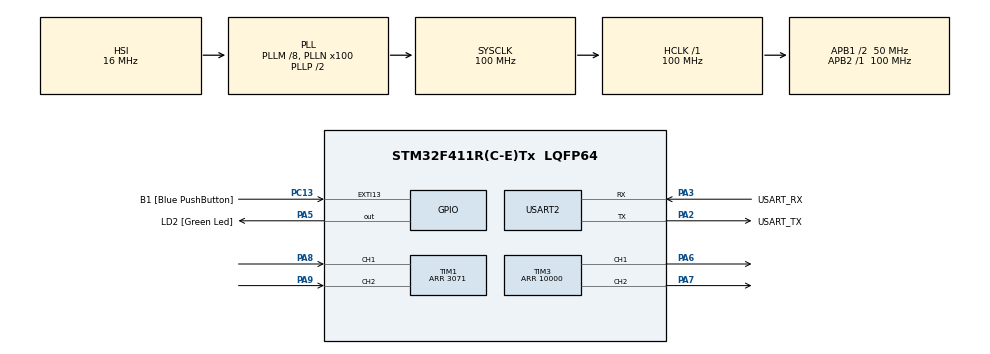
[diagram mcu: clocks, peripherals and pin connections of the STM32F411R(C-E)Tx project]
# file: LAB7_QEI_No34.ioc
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Mcu.Family=STM32F4
PC15-OSC32_OUT.Mode=LSE-External-Oscillator
RCC.CortexFreq_Value=100000000
PC13-ANTI_TAMP.GPIO_Label=B1 [Blue PushButton]
PA14.GPIO_Label=TCK
PH1\ -\ OSC_OUT.Mode=HSE-External-Clock-Source
TIM1.EncoderMode=TIM_ENCODERMODE_TI12
RCC.APB1CLKDivider=RCC_HCLK_DIV2
PC14-OSC32_IN.Signal=RCC_OSC32_IN
RCC.SYSCLKSource=RCC_SYSCLKSOURCE_PLLCLK
ProjectManager.StackSize=0x400
PA3.Mode=Asynchronous
PA13.Signal=SYS_JTMS-SWDIO
PH0\ -\ OSC_IN.Mode=HSE-External-Clock-Source
SH.S_TIM1_CH1.0=TIM1_CH1,Encoder_Interface
PH0\ -\ OSC_IN.Signal=RCC_OSC_IN
ProjectManager.TargetToolchain=STM32CubeIDE
RCC.HCLKFreq_Value=100000000
RCC.APB2TimFreq_Value=100000000
TIM3.Period=10000
PA9.Signal=S_TIM1_CH2
PC15-OSC32_OUT.Signal=RCC_OSC32_OUT
RCC.AHBFreq_Value=100000000
TIM3.Channel-PWM\ Generation1\ CH1=TIM_CHANNEL_1
PA5.Signal=GPIO_Output
SH.S_TIM3_CH2.0=TIM3_CH2,PWM Generation2 CH2
RCC.HSE_VALUE=8000000
PH1\ -\ OSC_OUT.Signal=RCC_OSC_OUT
board=NUCLEO-F411RE
PC13-ANTI_TAMP.Signal=GPXTI13
RCC.VCOOutputFreq_Value=200000000
RCC.APB2Freq_Value=100000000
PC14-OSC32_IN.Mode=LSE-External-Oscillator
SH.S_TIM1_CH2.0=TIM1_CH2,Encoder_Interface
VP_TIM2_VS_ClockSourceINT.Mode=Internal
PA14.Mode=Serial_Wire
NVIC.TIM2_IRQn=true\:0\:0\:false\:false\:true\:true\:true
TIM1.IC2Filter=15
PA8.Signal=S_TIM1_CH1
SH.S_TIM3_CH1.0=TIM3_CH1,PWM Generation1 CH1
PA13.Mode=Serial_Wire
Mcu.Name=STM32F411R(C-E)Tx
PA2.Signal=USART2_TX
PA13.GPIO_Label=TMS
RCC.FLatency-AdvancedSettings=FLASH_LATENCY_3
RCC.48MHZClocksFreq_Value=50000000
PB3.Signal=SYS_JTDO-SWO
RCC.SYSCLKFreq_VALUE=100000000
Mcu.Package=LQFP64
TIM2.Prescaler=99
PA6.Signal=S_TIM3_CH1
PA5.GPIO_Label=LD2 [Green Led]
TIM1.IC1Filter=0
USART2.VirtualMode=VM_ASYNC
PC13-ANTI_TAMP.GPIO_ModeDefaultEXTI=GPIO_MODE_IT_FALLING
PA2.GPIO_Label=USART_TX
PA14.Signal=SYS_JTCK-SWCLK
ProjectManager.HeapSize=0x200
RCC.HSI_VALUE=16000000
NVIC.PriorityGroup=NVIC_PRIORITYGROUP_0
TIM3.Channel-PWM\ Generation2\ CH2=TIM_CHANNEL_2
RCC.PLLM=8
RCC.PLLN=100
RCC.APB1TimFreq_Value=100000000
PA2.Mode=Asynchronous
TIM1.Period=3071
RCC.APB1Freq_Value=50000000
VP_TIM3_VS_ClockSourceINT.Mode=Internal
PA3.GPIO_Label=USART_RX
PA3.Signal=USART2_RX
PA7.Signal=S_TIM3_CH2
PB3.GPIO_Label=SWO

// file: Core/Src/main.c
/* USER CODE BEGIN Header */
/**
  ******************************************************************************
  * @file           : main.c
  * @brief          : Main program body
  ******************************************************************************
  * @attention
  *
  * <h2><center>&copy; Copyright (c) 2021 STMicroelectronics.
  * All rights reserved.</center></h2>
  *
  * This software component is licensed by ST under BSD 3-Clause license,
  * the "License"; You may not use this file except in compliance with the
  * License. You may obtain a copy of the License at:
  *                        opensource.org/licenses/BSD-3-Clause
  *
  ******************************************************************************
  */
/* USER CODE END Header */
#include "main.h"

/* USER CODE BEGIN Includes */
#include "stdio.h" //printf
/* USER CODE END Includes */

TIM_HandleTypeDef htim1;
TIM_HandleTypeDef htim2;
TIM_HandleTypeDef htim3;

UART_HandleTypeDef huart2;

/* USER CODE BEGIN PV */
//save time microseconds
uint64_t _micros = 0;
uint64_t Timestamp = 0;

float EncoderVel = 0;
float EncoderVel2 = 0;
float EncoderVel3 = 0;

int16_t PWMout = 5000;
//PID
float setpoint = 20.0;
float error = 0;
float last_error = 0;

float error_kp = 0;
float error_ki = 0;
float error_kd = 0;
float Kp=70.0;
float Ki=0;
float Kd=0;
float Error_Kp = 0;
float Error_Ki = 0;
float Error_Kd = 0;
/* USER CODE END PV */

void SystemClock_Config(void);
static void MX_GPIO_Init(void);
static void MX_USART2_UART_Init(void);
static void MX_TIM1_Init(void);
static void MX_TIM2_Init(void);
static void MX_TIM3_Init(void);
/* USER CODE BEGIN PFP */
uint64_t micros();
float EncoderVelocity_Update();
/* USER CODE END PFP */

int main(void)
{

  /* MCU Configuration--------------------------------------------------------*/

  /* Reset of all peripherals, Initializes the Flash interface and the Systick. */
  HAL_Init();

  /* Configure the system clock */
  SystemClock_Config();

  /* Initialize all configured peripherals */
  MX_GPIO_Init();
  MX_USART2_UART_Init();
  MX_TIM1_Init();
  MX_TIM2_Init();
  MX_TIM3_Init();
  /* USER CODE BEGIN 2 */
  //Encoder
  HAL_TIM_Encoder_Start(&htim1, TIM_CHANNEL_ALL);
  //Timer
  HAL_TIM_Base_Start_IT(&htim2);
  //START PWM
  HAL_TIM_Base_Start(&htim3);
  HAL_TIM_PWM_Start(&htim3, TIM_CHANNEL_1);
  HAL_TIM_PWM_Start(&htim3, TIM_CHANNEL_2);
  /* USER CODE END 2 */

  /* Infinite loop */
  while (1)
  {

    /* USER CODE BEGIN 3 */
	  //////////////////////////////////////////////////////////////////
	//RAW Read
	if(micros() - Timestamp >= 10000)
	{
		Timestamp = micros();
		EncoderVel = EncoderVelocity_Update();
		//EncoderVel2 = (EncoderVel + EncoderVelocity_Update())/2.0;

		EncoderVel2 = EncoderVel *60.0/3071.0 ; // calculate RPM 60/3071

		error = setpoint - EncoderVel2;

		Error_Kp = error;
		Error_Ki = Error_Ki + error;
		Error_Kd = error - last_error;

		PWMout = PWMout + Kp*Error_Kp + Ki*Error_Ki + Kd*Error_Kd;

		last_error = error;

		if(PWMout > 0)
		{

			__HAL_TIM_SET_COMPARE(&htim3 , TIM_CHANNEL_1 , PWMout);
			__HAL_TIM_SET_COMPARE(&htim3 , TIM_CHANNEL_2 , 0);
		}
		else if(PWMout < 0)
		{

			__HAL_TIM_SET_COMPARE(&htim3 , TIM_CHANNEL_1 , 0);
			__HAL_TIM_SET_COMPARE(&htim3 , TIM_CHANNEL_2 , PWMout*(-1));
		}

	}
	///////////////////////////////////////////////////////////////////
//	  if (micros() - Timestamp >= 100)
//	  		{
//	  			Timestamp = micros();
//	  			EncoderVel = (EncoderVel * 99 + EncoderVelocity_Update()) / 100.0;
//	  			//EncoderVel2 = EncoderVel*0.0195;
//
//	  			__HAL_TIM_SET_COMPARE(&htim3 , TIM_CHANNEL_1 , PWMout);
//	  		}
  }
  /* USER CODE END 3 */
}

void SystemClock_Config(void)
{
  RCC_OscInitTypeDef RCC_OscInitStruct = {0};
  RCC_ClkInitTypeDef RCC_ClkInitStruct = {0};

  /** Configure the main internal regulator output voltage
  */
  __HAL_RCC_PWR_CLK_ENABLE();
  __HAL_PWR_VOLTAGESCALING_CONFIG(PWR_REGULATOR_VOLTAGE_SCALE1);
  /** Initializes the RCC Oscillators according to the specified parameters
  * in the RCC_OscInitTypeDef structure.
  */
  RCC_OscInitStruct.OscillatorType = RCC_OSCILLATORTYPE_HSI;
  RCC_OscInitStruct.HSIState = RCC_HSI_ON;
  RCC_OscInitStruct.HSICalibrationValue = RCC_HSICALIBRATION_DEFAULT;
  RCC_OscInitStruct.PLL.PLLState = RCC_PLL_ON;
  RCC_OscInitStruct.PLL.PLLSource = RCC_PLLSOURCE_HSI;
  RCC_OscInitStruct.PLL.PLLM = 8;
  RCC_OscInitStruct.PLL.PLLN = 100;
  RCC_OscInitStruct.PLL.PLLP = RCC_PLLP_DIV2;
  RCC_OscInitStruct.PLL.PLLQ = 4;
  if (HAL_RCC_OscConfig(&RCC_OscInitStruct) != HAL_OK)
  {
    Error_Handler();
  }
  /** Initializes the CPU, AHB and APB buses clocks
  */
  RCC_ClkInitStruct.ClockType = RCC_CLOCKTYPE_HCLK|RCC_CLOCKTYPE_SYSCLK
                              |RCC_CLOCKTYPE_PCLK1|RCC_CLOCKTYPE_PCLK2;
  RCC_ClkInitStruct.SYSCLKSource = RCC_SYSCLKSOURCE_PLLCLK;
  RCC_ClkInitStruct.AHBCLKDivider = RCC_SYSCLK_DIV1;
  RCC_ClkInitStruct.APB1CLKDivider = RCC_HCLK_DIV2;
  RCC_ClkInitStruct.APB2CLKDivider = RCC_HCLK_DIV1;

  if (HAL_RCC_ClockConfig(&RCC_ClkInitStruct, FLASH_LATENCY_3) != HAL_OK)
  {
    Error_Handler();
  }
}

static void MX_TIM1_Init(void)
{

  TIM_Encoder_InitTypeDef sConfig = {0};
  TIM_MasterConfigTypeDef sMasterConfig = {0};

  htim1.Instance = TIM1;
  htim1.Init.Prescaler = 0;
  htim1.Init.CounterMode = TIM_COUNTERMODE_UP;
  htim1.Init.Period = 3071;
  htim1.Init.ClockDivision = TIM_CLOCKDIVISION_DIV1;
  htim1.Init.RepetitionCounter = 0;
  htim1.Init.AutoReloadPreload = TIM_AUTORELOAD_PRELOAD_DISABLE;
  sConfig.EncoderMode = TIM_ENCODERMODE_TI12;
  sConfig.IC1Polarity = TIM_ICPOLARITY_RISING;
  sConfig.IC1Selection = TIM_ICSELECTION_DIRECTTI;
  sConfig.IC1Prescaler = TIM_ICPSC_DIV1;
  sConfig.IC1Filter = 0;
  sConfig.IC2Polarity = TIM_ICPOLARITY_RISING;
  sConfig.IC2Selection = TIM_ICSELECTION_DIRECTTI;
  sConfig.IC2Prescaler = TIM_ICPSC_DIV1;
  sConfig.IC2Filter = 15;
  if (HAL_TIM_Encoder_Init(&htim1, &sConfig) != HAL_OK)
  {
    Error_Handler();
  }
  sMasterConfig.MasterOutputTrigger = TIM_TRGO_RESET;
  sMasterConfig.MasterSlaveMode = TIM_MASTERSLAVEMODE_DISABLE;
  if (HAL_TIMEx_MasterConfigSynchronization(&htim1, &sMasterConfig) != HAL_OK)
  {
    Error_Handler();
  }

}

static void MX_TIM2_Init(void)
{

  TIM_ClockConfigTypeDef sClockSourceConfig = {0};
  TIM_MasterConfigTypeDef sMasterConfig = {0};

  htim2.Instance = TIM2;
  htim2.Init.Prescaler = 99;
  htim2.Init.CounterMode = TIM_COUNTERMODE_UP;
  htim2.Init.Period = 4294967295;
  htim2.Init.ClockDivision = TIM_CLOCKDIVISION_DIV1;
  htim2.Init.AutoReloadPreload = TIM_AUTORELOAD_PRELOAD_DISABLE;
  if (HAL_TIM_Base_Init(&htim2) != HAL_OK)
  {
    Error_Handler();
  }
  sClockSourceConfig.ClockSource = TIM_CLOCKSOURCE_INTERNAL;
  if (HAL_TIM_ConfigClockSource(&htim2, &sClockSourceConfig) != HAL_OK)
  {
    Error_Handler();
  }
  sMasterConfig.MasterOutputTrigger = TIM_TRGO_RESET;
  sMasterConfig.MasterSlaveMode = TIM_MASTERSLAVEMODE_DISABLE;
  if (HAL_TIMEx_MasterConfigSynchronization(&htim2, &sMasterConfig) != HAL_OK)
  {
    Error_Handler();
  }

}

static void MX_TIM3_Init(void)
{

  TIM_ClockConfigTypeDef sClockSourceConfig = {0};
  TIM_MasterConfigTypeDef sMasterConfig = {0};
  TIM_OC_InitTypeDef sConfigOC = {0};

  htim3.Instance = TIM3;
  htim3.Init.Prescaler = 0;
  htim3.Init.CounterMode = TIM_COUNTERMODE_UP;
  htim3.Init.Period = 10000;
  htim3.Init.ClockDivision = TIM_CLOCKDIVISION_DIV1;
  htim3.Init.AutoReloadPreload = TIM_AUTORELOAD_PRELOAD_DISABLE;
  if (HAL_TIM_Base_Init(&htim3) != HAL_OK)
  {
    Error_Handler();
  }
  sClockSourceConfig.ClockSource = TIM_CLOCKSOURCE_INTERNAL;
  if (HAL_TIM_ConfigClockSource(&htim3, &sClockSourceConfig) != HAL_OK)
  {
    Error_Handler();
  }
  if (HAL_TIM_PWM_Init(&htim3) != HAL_OK)
  {
    Error_Handler();
  }
  sMasterConfig.MasterOutputTrigger = TIM_TRGO_RESET;
  sMasterConfig.MasterSlaveMode = TIM_MASTERSLAVEMODE_DISABLE;
  if (HAL_TIMEx_MasterConfigSynchronization(&htim3, &sMasterConfig) != HAL_OK)
  {
    Error_Handler();
  }
  sConfigOC.OCMode = TIM_OCMODE_PWM1;
  sConfigOC.Pulse = 0;
  sConfigOC.OCPolarity = TIM_OCPOLARITY_HIGH;
  sConfigOC.OCFastMode = TIM_OCFAST_DISABLE;
  if (HAL_TIM_PWM_ConfigChannel(&htim3, &sConfigOC, TIM_CHANNEL_1) != HAL_OK)
  {
    Error_Handler();
  }
  if (HAL_TIM_PWM_ConfigChannel(&htim3, &sConfigOC, TIM_CHANNEL_2) != HAL_OK)
  {
    Error_Handler();
  }
  HAL_TIM_MspPostInit(&htim3);

}

static void MX_USART2_UART_Init(void)
{

  huart2.Instance = USART2;
  huart2.Init.BaudRate = 115200;
  huart2.Init.WordLength = UART_WORDLENGTH_8B;
  huart2.Init.StopBits = UART_STOPBITS_1;
  huart2.Init.Parity = UART_PARITY_NONE;
  huart2.Init.Mode = UART_MODE_TX_RX;
  huart2.Init.HwFlowCtl = UART_HWCONTROL_NONE;
  huart2.Init.OverSampling = UART_OVERSAMPLING_16;
  if (HAL_UART_Init(&huart2) != HAL_OK)
  {
    Error_Handler();
  }

}

static void MX_GPIO_Init(void)
{
  GPIO_InitTypeDef GPIO_InitStruct = {0};

  /* GPIO Ports Clock Enable */
  __HAL_RCC_GPIOC_CLK_ENABLE();
  __HAL_RCC_GPIOH_CLK_ENABLE();
  __HAL_RCC_GPIOA_CLK_ENABLE();
  __HAL_RCC_GPIOB_CLK_ENABLE();

  /*Configure GPIO pin Output Level */
  HAL_GPIO_WritePin(LD2_GPIO_Port, LD2_Pin, GPIO_PIN_RESET);

  /*Configure GPIO pin : B1_Pin */
  GPIO_InitStruct.Pin = B1_Pin;
  GPIO_InitStruct.Mode = GPIO_MODE_IT_FALLING;
  GPIO_InitStruct.Pull = GPIO_NOPULL;
  HAL_GPIO_Init(B1_GPIO_Port, &GPIO_InitStruct);

  /*Configure GPIO pin : LD2_Pin */
  GPIO_InitStruct.Pin = LD2_Pin;
  GPIO_InitStruct.Mode = GPIO_MODE_OUTPUT_PP;
  GPIO_InitStruct.Pull = GPIO_NOPULL;
  GPIO_InitStruct.Speed = GPIO_SPEED_FREQ_LOW;
  HAL_GPIO_Init(LD2_GPIO_Port, &GPIO_InitStruct);

}

/* USER CODE BEGIN 4 */
//EncoderVelocity_Update
#define MAX_Encoder_Overflow 1500
#define MAX_Encoder_Period 3072

__inline__ float EncoderVelocity_Update()
{
	static uint32_t EncoderLastPosition = 0;
	static uint64_t EncoderLastTime = 0;

	uint32_t EncoderNowPosition = htim1.Instance->CNT;
	uint64_t EncoderNowTime = micros();

	int32_t EncoderDiffPosition = 0;
	uint64_t EncoderDiffTime = 0;

	EncoderDiffPosition =  EncoderNowPosition - EncoderLastPosition;
	EncoderDiffTime = EncoderNowTime - EncoderLastTime;

	if(EncoderDiffPosition >= MAX_Encoder_Overflow)
	{
		EncoderDiffPosition -= MAX_Encoder_Period;
	}
	else if(-EncoderDiffPosition >= MAX_Encoder_Overflow)
	{
		EncoderDiffPosition += MAX_Encoder_Period;
	}
	//Update last state
	EncoderLastPosition = EncoderNowPosition;
	EncoderLastTime = EncoderNowTime;

	return (EncoderDiffPosition*1000000) / ((float)EncoderDiffTime); //1000000=us9

}
//time in microseconds
__inline__ uint64_t micros()
{
	return _micros + htim2.Instance->CNT;
}
void HAL_TIM_PeriodElapsedCallback(TIM_HandleTypeDef *htim)
{
	if(htim == &htim2)
	{
		_micros += 4294967295;
	}
}
/* USER CODE END 4 */

void Error_Handler(void)
{
  __disable_irq();
  while (1)
  {
  }
}

/************************ (C) COPYRIGHT STMicroelectronics *****END OF FILE****/
